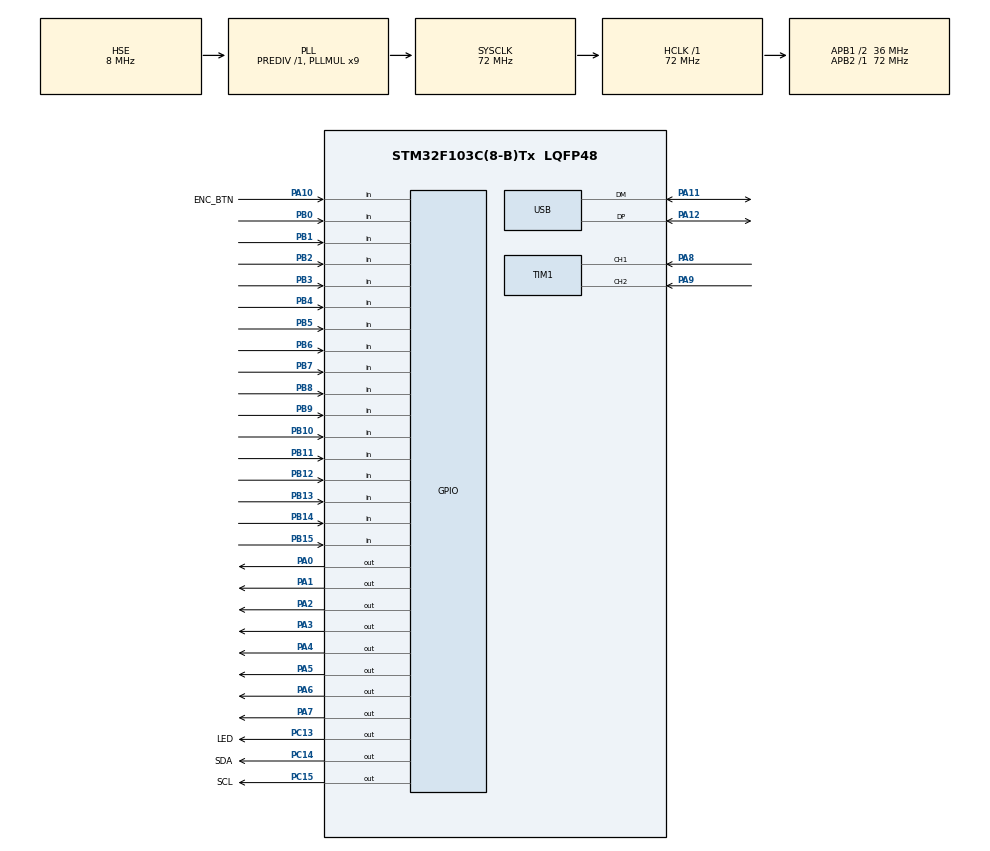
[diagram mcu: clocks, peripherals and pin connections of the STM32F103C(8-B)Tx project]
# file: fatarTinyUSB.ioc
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Mcu.Family=STM32F1
Mcu.Name=STM32F103C(8-B)Tx
Mcu.Package=LQFP48
NVIC.PriorityGroup=NVIC_PRIORITYGROUP_4
NVIC.USB_HP_CAN1_TX_IRQn=true\:0\:0\:false\:false\:true\:true\:true
NVIC.USB_LP_CAN1_RX0_IRQn=true\:0\:0\:false\:false\:true\:true\:true
PA0-WKUP.Signal=GPIO_Output
PA1.Signal=GPIO_Output
PA10.GPIO_Label=ENC_BTN
PA10.Signal=GPIO_Input
PA11.Mode=Device
PA11.Signal=USB_DM
PA12.Mode=Device
PA12.Signal=USB_DP
PA13.Mode=Serial_Wire
PA13.Signal=SYS_JTMS-SWDIO
PA14.Mode=Serial_Wire
PA14.Signal=SYS_JTCK-SWCLK
PA2.Signal=GPIO_Output
PA3.Signal=GPIO_Output
PA4.Signal=GPIO_Output
PA5.Signal=GPIO_Output
PA6.Signal=GPIO_Output
PA7.Signal=GPIO_Output
PA8.Signal=S_TIM1_CH1
PA9.Signal=S_TIM1_CH2
PB0.GPIO_Mode=GPIO_MODE_INPUT
PB0.GPIO_PuPd=GPIO_PULLDOWN
PB0.Signal=GPIO_Input
PB1.GPIO_Mode=GPIO_MODE_INPUT
PB1.GPIO_PuPd=GPIO_PULLDOWN
PB1.Signal=GPIO_Input
PB10.GPIO_Mode=GPIO_MODE_INPUT
PB10.GPIO_PuPd=GPIO_PULLDOWN
PB10.Signal=GPIO_Input
PB11.GPIO_Mode=GPIO_MODE_INPUT
PB11.GPIO_PuPd=GPIO_PULLDOWN
PB11.Signal=GPIO_Input
PB12.GPIO_Mode=GPIO_MODE_INPUT
PB12.GPIO_PuPd=GPIO_PULLDOWN
PB12.Signal=GPIO_Input
PB13.GPIO_Mode=GPIO_MODE_INPUT
PB13.GPIO_PuPd=GPIO_PULLDOWN
PB13.Signal=GPIO_Input
PB14.GPIO_Mode=GPIO_MODE_INPUT
PB14.GPIO_PuPd=GPIO_PULLDOWN
PB14.Signal=GPIO_Input
PB15.GPIO_Mode=GPIO_MODE_INPUT
PB15.GPIO_PuPd=GPIO_PULLDOWN
PB15.Signal=GPIO_Input
PB2.GPIO_Mode=GPIO_MODE_INPUT
PB2.GPIO_PuPd=GPIO_PULLDOWN
PB2.Signal=GPIO_Input
PB3.GPIO_PuPd=GPIO_PULLDOWN
PB3.Signal=GPIO_Input
PB4.GPIO_Mode=GPIO_MODE_INPUT
PB4.GPIO_PuPd=GPIO_PULLDOWN
PB4.Signal=GPIO_Input
PB5.GPIO_Mode=GPIO_MODE_INPUT
PB5.GPIO_PuPd=GPIO_PULLDOWN
PB5.Signal=GPIO_Input
PB6.GPIO_Mode=GPIO_MODE_INPUT
PB6.GPIO_PuPd=GPIO_PULLDOWN
PB6.Signal=GPIO_Input
PB7.GPIO_Mode=GPIO_MODE_INPUT
PB7.GPIO_PuPd=GPIO_PULLDOWN
PB7.Signal=GPIO_Input
PB8.GPIO_Mode=GPIO_MODE_INPUT
PB8.GPIO_PuPd=GPIO_PULLDOWN
PB8.Signal=GPIO_Input
PB9.GPIO_Mode=GPIO_MODE_INPUT
PB9.GPIO_PuPd=GPIO_PULLDOWN
PB9.Signal=GPIO_Input
PC13-TAMPER-RTC.GPIO_Label=LED
PC13-TAMPER-RTC.Signal=GPIO_Output
PC14-OSC32_IN.GPIO_Label=SDA
PC14-OSC32_IN.GPIO_ModeDefaultOutputPP=GPIO_MODE_OUTPUT_OD
PC14-OSC32_IN.GPIO_PuPd=GPIO_PULLUP
PC14-OSC32_IN.PinState=GPIO_PIN_SET
PC14-OSC32_IN.Signal=GPIO_Output
PC15-OSC32_OUT.GPIO_Label=SCL
PC15-OSC32_OUT.GPIO_ModeDefaultOutputPP=GPIO_MODE_OUTPUT_OD
PC15-OSC32_OUT.GPIO_PuPd=GPIO_PULLUP
PC15-OSC32_OUT.PinState=GPIO_PIN_SET
PC15-OSC32_OUT.Signal=GPIO_Output
PD0-OSC_IN.Mode=HSE-External-Oscillator
PD0-OSC_IN.Signal=RCC_OSC_IN
PD1-OSC_OUT.Mode=HSE-External-Oscillator
PD1-OSC_OUT.Signal=RCC_OSC_OUT
ProjectManager.HeapSize=0x200
ProjectManager.StackSize=0x400
ProjectManager.TargetToolchain=STM32CubeIDE
RCC.AHBFreq_Value=72000000
RCC.APB1CLKDivider=RCC_HCLK_DIV2
RCC.APB1Freq_Value=36000000
RCC.APB1TimFreq_Value=72000000
RCC.APB2Freq_Value=72000000
RCC.APB2TimFreq_Value=72000000
RCC.HCLKFreq_Value=72000000
RCC.PLLMUL=RCC_PLL_MUL9
RCC.SYSCLKFreq_VALUE=72000000
RCC.SYSCLKSource=RCC_SYSCLKSOURCE_PLLCLK
RCC.USBFreq_Value=48000000
RCC.USBPrescaler=RCC_USBCLKSOURCE_PLL_DIV1_5
SH.S_TIM1_CH1.0=TIM1_CH1,Encoder_Interface
SH.S_TIM1_CH2.0=TIM1_CH2,Encoder_Interface
TIM1.EncoderMode=TIM_ENCODERMODE_TI12
TIM1.IC1Filter=10
TIM1.IC1Polarity=TIM_ICPOLARITY_FALLING
TIM1.IC2Filter=10
TIM1.IC2Polarity=TIM_ICPOLARITY_FALLING
board=custom

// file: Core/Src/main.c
/* USER CODE BEGIN Header */
/**
  ******************************************************************************
  * @file           : main.c
  * @brief          : Main program body
  ******************************************************************************
  * @attention
  *
  * <h2><center>&copy; Copyright (c) 2021 STMicroelectronics.
  * All rights reserved.</center></h2>
  *
  * This software component is licensed by ST under BSD 3-Clause license,
  * the "License"; You may not use this file except in compliance with the
  * License. You may obtain a copy of the License at:
  *                        opensource.org/licenses/BSD-3-Clause
  *
  ******************************************************************************
  */
/* USER CODE END Header */
#include "main.h"

/* USER CODE BEGIN Includes */
#include "SEGGER_RTT.h"
#include "tusb.h"
/* USER CODE END Includes */

/* USER CODE BEGIN PD */
#define board_millis HAL_GetTick
/* USER CODE END PD */

TIM_HandleTypeDef htim1;

PCD_HandleTypeDef hpcd_USB_FS;

/* USER CODE BEGIN PV */
/* Blink pattern
 * - 250 ms  : device not mounted
 * - 1000 ms : device mounted
 * - 2500 ms : device is suspended
 */
enum  {
  BLINK_NOT_MOUNTED = 250,
  BLINK_MOUNTED = 1000,
  BLINK_SUSPENDED = 2500,
};

static uint32_t blink_interval_ms = BLINK_NOT_MOUNTED;

/* USER CODE END PV */

void SystemClock_Config(void);
static void MX_GPIO_Init(void);
static void MX_USB_PCD_Init(void);
static void MX_TIM1_Init(void);
/* USER CODE BEGIN PFP */
void initialize(void);
void midi_task(void);
/* USER CODE END PFP */

/* USER CODE BEGIN 0 */

/*
 * pull down the USB RP pin to let think of master that device have been disconnect
 *  and force new device identification when calling MX_USB_DEVICE_Init()
 */
void USB_DEVICE_MasterHardReset(void) {
	GPIO_InitTypeDef GPIO_InitStruct;

	GPIO_InitStruct.Pin = GPIO_PIN_12;
	GPIO_InitStruct.Mode = GPIO_MODE_OUTPUT_PP;
	GPIO_InitStruct.Pull = GPIO_NOPULL;
	GPIO_InitStruct.Speed = GPIO_SPEED_FREQ_HIGH;
	HAL_GPIO_Init(GPIOA, &GPIO_InitStruct);
	HAL_GPIO_WritePin(GPIOA, GPIO_PIN_12, GPIO_PIN_RESET);
	HAL_Delay(500);

	/* USER CODE END USB_MspInit 0 */

	/**USB GPIO Configuration
	    PA11     ------> USB_DM
	    PA12     ------> USB_DP
	 */
	GPIO_InitStruct.Pin = /*GPIO_PIN_11|*/GPIO_PIN_12;
	GPIO_InitStruct.Mode = GPIO_MODE_AF_PP;
	GPIO_InitStruct.Pull = GPIO_NOPULL;
	GPIO_InitStruct.Speed = GPIO_SPEED_FREQ_HIGH;
	//GPIO_InitStruct.Alternate = GPIO_AF0_LPTIM 14_USB;
	HAL_GPIO_Init(GPIOA, &GPIO_InitStruct);
}

//--------------------------------------------------------------------+
// Device callbacks
//--------------------------------------------------------------------+

// Invoked when device is mounted
void tud_mount_cb(void)
{
  blink_interval_ms = BLINK_MOUNTED;
}

// Invoked when device is unmounted
void tud_umount_cb(void)
{
  blink_interval_ms = BLINK_NOT_MOUNTED;
}

// Invoked when usb bus is suspended
// remote_wakeup_en : if host allow us  to perform remote wakeup
// Within 7ms, device must draw an average of current less than 2.5 mA from bus
void tud_suspend_cb(bool remote_wakeup_en)
{
  (void) remote_wakeup_en;
  blink_interval_ms = BLINK_SUSPENDED;
}

// Invoked when usb bus is resumed
void tud_resume_cb(void)
{
  blink_interval_ms = BLINK_MOUNTED;
}

void board_led_write(bool state)
{
  HAL_GPIO_WritePin(LED_GPIO_Port, LED_Pin, state ? 1 : 0);
}

//--------------------------------------------------------------------+
// BLINKING TASK
//--------------------------------------------------------------------+
void led_blinking_task(void)
{
  static uint32_t start_ms = 0;
  static bool led_state = false;

  // Blink every interval ms
  if ( board_millis() - start_ms < blink_interval_ms) return; // not enough time
  start_ms += blink_interval_ms;

  board_led_write(led_state);
  led_state = 1 - led_state; // toggle
}

/* USER CODE END 0 */

int main(void)
{

  /* MCU Configuration--------------------------------------------------------*/

  /* Reset of all peripherals, Initializes the Flash interface and the Systick. */
  HAL_Init();

  /* Configure the system clock */
  SystemClock_Config();

  /* USER CODE BEGIN SysInit */
  tu_printf("REVID:0x%lx UID:%04lx %04lx %04lx\n", HAL_GetREVID(), HAL_GetUIDw0(), HAL_GetUIDw1(), HAL_GetUIDw2());
  /* USER CODE END SysInit */

  /* Initialize all configured peripherals */
  MX_GPIO_Init();
  MX_USB_PCD_Init();
  MX_TIM1_Init();
  /* USER CODE BEGIN 2 */
  tusb_init();
  /* USER CODE END 2 */

  /* Infinite loop */
  /* USER CODE BEGIN WHILE */
  initialize();
  while (1)
  {
	    tud_task(); // tinyusb device task
	    led_blinking_task();
	    midi_task();
    /* USER CODE END WHILE */

  }
}

void SystemClock_Config(void)
{
  RCC_OscInitTypeDef RCC_OscInitStruct = {0};
  RCC_ClkInitTypeDef RCC_ClkInitStruct = {0};
  RCC_PeriphCLKInitTypeDef PeriphClkInit = {0};

  /** Initializes the RCC Oscillators according to the specified parameters
  * in the RCC_OscInitTypeDef structure.
  */
  RCC_OscInitStruct.OscillatorType = RCC_OSCILLATORTYPE_HSE;
  RCC_OscInitStruct.HSEState = RCC_HSE_ON;
  RCC_OscInitStruct.HSEPredivValue = RCC_HSE_PREDIV_DIV1;
  RCC_OscInitStruct.HSIState = RCC_HSI_ON;
  RCC_OscInitStruct.PLL.PLLState = RCC_PLL_ON;
  RCC_OscInitStruct.PLL.PLLSource = RCC_PLLSOURCE_HSE;
  RCC_OscInitStruct.PLL.PLLMUL = RCC_PLL_MUL9;
  if (HAL_RCC_OscConfig(&RCC_OscInitStruct) != HAL_OK)
  {
    Error_Handler();
  }
  /** Initializes the CPU, AHB and APB buses clocks
  */
  RCC_ClkInitStruct.ClockType = RCC_CLOCKTYPE_HCLK|RCC_CLOCKTYPE_SYSCLK
                              |RCC_CLOCKTYPE_PCLK1|RCC_CLOCKTYPE_PCLK2;
  RCC_ClkInitStruct.SYSCLKSource = RCC_SYSCLKSOURCE_PLLCLK;
  RCC_ClkInitStruct.AHBCLKDivider = RCC_SYSCLK_DIV1;
  RCC_ClkInitStruct.APB1CLKDivider = RCC_HCLK_DIV2;
  RCC_ClkInitStruct.APB2CLKDivider = RCC_HCLK_DIV1;

  if (HAL_RCC_ClockConfig(&RCC_ClkInitStruct, FLASH_LATENCY_2) != HAL_OK)
  {
    Error_Handler();
  }
  PeriphClkInit.PeriphClockSelection = RCC_PERIPHCLK_USB;
  PeriphClkInit.UsbClockSelection = RCC_USBCLKSOURCE_PLL_DIV1_5;
  if (HAL_RCCEx_PeriphCLKConfig(&PeriphClkInit) != HAL_OK)
  {
    Error_Handler();
  }
}

static void MX_TIM1_Init(void)
{

  TIM_Encoder_InitTypeDef sConfig = {0};
  TIM_MasterConfigTypeDef sMasterConfig = {0};

  htim1.Instance = TIM1;
  htim1.Init.Prescaler = 0;
  htim1.Init.CounterMode = TIM_COUNTERMODE_UP;
  htim1.Init.Period = 65535;
  htim1.Init.ClockDivision = TIM_CLOCKDIVISION_DIV1;
  htim1.Init.RepetitionCounter = 0;
  htim1.Init.AutoReloadPreload = TIM_AUTORELOAD_PRELOAD_DISABLE;
  sConfig.EncoderMode = TIM_ENCODERMODE_TI12;
  sConfig.IC1Polarity = TIM_ICPOLARITY_FALLING;
  sConfig.IC1Selection = TIM_ICSELECTION_DIRECTTI;
  sConfig.IC1Prescaler = TIM_ICPSC_DIV1;
  sConfig.IC1Filter = 10;
  sConfig.IC2Polarity = TIM_ICPOLARITY_FALLING;
  sConfig.IC2Selection = TIM_ICSELECTION_DIRECTTI;
  sConfig.IC2Prescaler = TIM_ICPSC_DIV1;
  sConfig.IC2Filter = 10;
  if (HAL_TIM_Encoder_Init(&htim1, &sConfig) != HAL_OK)
  {
    Error_Handler();
  }
  sMasterConfig.MasterOutputTrigger = TIM_TRGO_RESET;
  sMasterConfig.MasterSlaveMode = TIM_MASTERSLAVEMODE_DISABLE;
  if (HAL_TIMEx_MasterConfigSynchronization(&htim1, &sMasterConfig) != HAL_OK)
  {
    Error_Handler();
  }

}

static void MX_USB_PCD_Init(void)
{

  /* USER CODE BEGIN USB_Init 0 */
	USB_DEVICE_MasterHardReset();
  /* USER CODE END USB_Init 0 */

  hpcd_USB_FS.Instance = USB;
  hpcd_USB_FS.Init.dev_endpoints = 8;
  hpcd_USB_FS.Init.speed = PCD_SPEED_FULL;
  hpcd_USB_FS.Init.low_power_enable = DISABLE;
  hpcd_USB_FS.Init.lpm_enable = DISABLE;
  hpcd_USB_FS.Init.battery_charging_enable = DISABLE;
  if (HAL_PCD_Init(&hpcd_USB_FS) != HAL_OK)
  {
    Error_Handler();
  }

}

static void MX_GPIO_Init(void)
{
  GPIO_InitTypeDef GPIO_InitStruct = {0};

  /* GPIO Ports Clock Enable */
  __HAL_RCC_GPIOC_CLK_ENABLE();
  __HAL_RCC_GPIOD_CLK_ENABLE();
  __HAL_RCC_GPIOA_CLK_ENABLE();
  __HAL_RCC_GPIOB_CLK_ENABLE();

  /*Configure GPIO pin Output Level */
  HAL_GPIO_WritePin(LED_GPIO_Port, LED_Pin, GPIO_PIN_RESET);

  /*Configure GPIO pin Output Level */
  HAL_GPIO_WritePin(GPIOC, SDA_Pin|SCL_Pin, GPIO_PIN_SET);

  /*Configure GPIO pin Output Level */
  HAL_GPIO_WritePin(GPIOA, GPIO_PIN_0|GPIO_PIN_1|GPIO_PIN_2|GPIO_PIN_3
                          |GPIO_PIN_4|GPIO_PIN_5|GPIO_PIN_6|GPIO_PIN_7, GPIO_PIN_RESET);

  /*Configure GPIO pin : LED_Pin */
  GPIO_InitStruct.Pin = LED_Pin;
  GPIO_InitStruct.Mode = GPIO_MODE_OUTPUT_PP;
  GPIO_InitStruct.Pull = GPIO_NOPULL;
  GPIO_InitStruct.Speed = GPIO_SPEED_FREQ_LOW;
  HAL_GPIO_Init(LED_GPIO_Port, &GPIO_InitStruct);

  /*Configure GPIO pins : SDA_Pin SCL_Pin */
  GPIO_InitStruct.Pin = SDA_Pin|SCL_Pin;
  GPIO_InitStruct.Mode = GPIO_MODE_OUTPUT_OD;
  GPIO_InitStruct.Pull = GPIO_PULLUP;
  GPIO_InitStruct.Speed = GPIO_SPEED_FREQ_LOW;
  HAL_GPIO_Init(GPIOC, &GPIO_InitStruct);

  /*Configure GPIO pins : PA0 PA1 PA2 PA3
                           PA4 PA5 PA6 PA7 */
  GPIO_InitStruct.Pin = GPIO_PIN_0|GPIO_PIN_1|GPIO_PIN_2|GPIO_PIN_3
                          |GPIO_PIN_4|GPIO_PIN_5|GPIO_PIN_6|GPIO_PIN_7;
  GPIO_InitStruct.Mode = GPIO_MODE_OUTPUT_PP;
  GPIO_InitStruct.Pull = GPIO_NOPULL;
  GPIO_InitStruct.Speed = GPIO_SPEED_FREQ_LOW;
  HAL_GPIO_Init(GPIOA, &GPIO_InitStruct);

  /*Configure GPIO pins : PB0 PB1 PB2 PB10
                           PB11 PB12 PB13 PB14
                           PB15 PB3 PB4 PB5
                           PB6 PB7 PB8 PB9 */
  GPIO_InitStruct.Pin = GPIO_PIN_0|GPIO_PIN_1|GPIO_PIN_2|GPIO_PIN_10
                          |GPIO_PIN_11|GPIO_PIN_12|GPIO_PIN_13|GPIO_PIN_14
                          |GPIO_PIN_15|GPIO_PIN_3|GPIO_PIN_4|GPIO_PIN_5
                          |GPIO_PIN_6|GPIO_PIN_7|GPIO_PIN_8|GPIO_PIN_9;
  GPIO_InitStruct.Mode = GPIO_MODE_INPUT;
  GPIO_InitStruct.Pull = GPIO_PULLDOWN;
  HAL_GPIO_Init(GPIOB, &GPIO_InitStruct);

  /*Configure GPIO pin : ENC_BTN_Pin */
  GPIO_InitStruct.Pin = ENC_BTN_Pin;
  GPIO_InitStruct.Mode = GPIO_MODE_INPUT;
  GPIO_InitStruct.Pull = GPIO_NOPULL;
  HAL_GPIO_Init(ENC_BTN_GPIO_Port, &GPIO_InitStruct);

}

void Error_Handler(void)
{
  __disable_irq();
  while (1)
  {
  }
}

/************************ (C) COPYRIGHT STMicroelectronics *****END OF FILE****/
